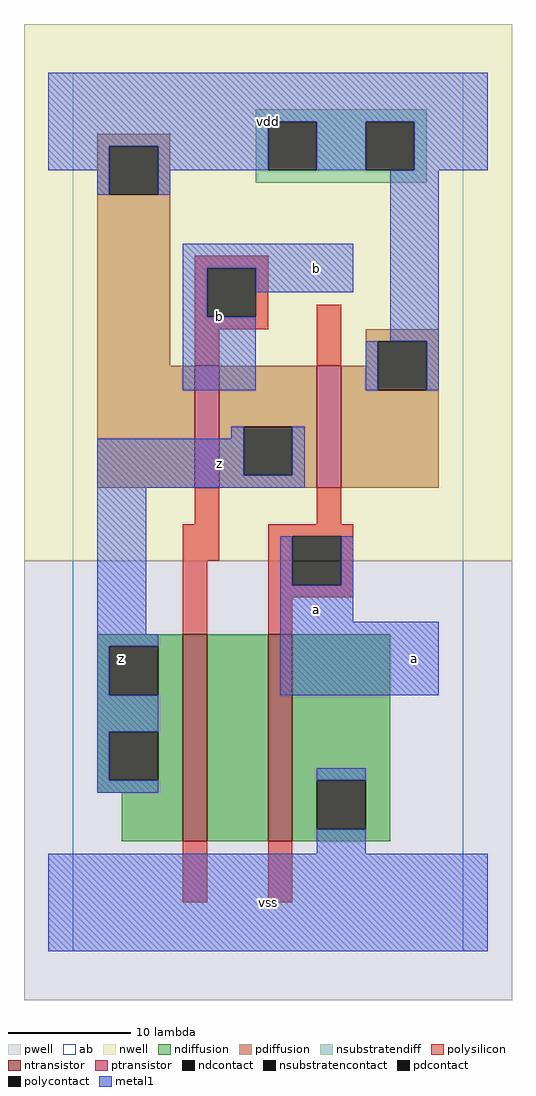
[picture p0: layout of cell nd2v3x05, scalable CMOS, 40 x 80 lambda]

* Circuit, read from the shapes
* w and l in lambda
.subckt nd2v3x05 a b vdd vss z
M1 n1 b z VSUBS nfet w=17 l=2
M2 vss a n1 VSUBS nfet w=17 l=2
M3 z b vdd vdd pfet w=10 l=2
M4 vdd a z vdd pfet w=10 l=2
.ends

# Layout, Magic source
magic
tech scmos
<< ab >>
rect 0 0 32 72
<< pwell >>
rect -4 -4 36 32
<< nwell >>
rect -4 32 36 76
<< polysilicon >>
rect 10 56 16 57
rect 10 52 11 56
rect 15 52 16 56
rect 10 51 16 52
rect 10 48 12 51
rect 20 48 22 53
rect 10 35 12 38
rect 20 35 22 38
rect 9 32 12 35
rect 16 34 23 35
rect 9 26 11 32
rect 16 30 18 34
rect 22 30 23 34
rect 16 29 23 30
rect 16 26 18 29
rect 9 4 11 9
rect 16 4 18 9
<< ndiffusion >>
rect 2 25 9 26
rect 2 21 3 25
rect 7 21 9 25
rect 2 18 9 21
rect 2 14 3 18
rect 7 14 9 18
rect 2 13 9 14
rect 4 9 9 13
rect 11 9 16 26
rect 18 14 26 26
rect 18 10 20 14
rect 24 10 26 14
rect 18 9 26 10
<< pdiffusion >>
rect 2 66 8 67
rect 2 62 3 66
rect 7 62 8 66
rect 2 48 8 62
rect 24 50 30 51
rect 24 48 25 50
rect 2 38 10 48
rect 12 43 20 48
rect 12 39 14 43
rect 18 39 20 43
rect 12 38 20 39
rect 22 46 25 48
rect 29 46 30 50
rect 22 38 30 46
<< metal1 >>
rect -2 68 34 72
rect -2 66 16 68
rect -2 64 3 66
rect 2 62 3 64
rect 7 64 16 66
rect 20 64 24 68
rect 28 64 34 68
rect 7 62 8 64
rect 9 56 23 58
rect 9 52 11 56
rect 15 54 23 56
rect 9 46 15 52
rect 26 50 30 64
rect 24 46 25 50
rect 29 46 30 50
rect 13 42 14 43
rect 2 39 14 42
rect 18 39 19 43
rect 2 38 19 39
rect 2 26 6 38
rect 17 30 18 34
rect 22 30 23 34
rect 17 27 23 30
rect 2 25 7 26
rect 2 21 3 25
rect 17 21 30 27
rect 2 18 7 21
rect 2 14 3 18
rect 2 13 7 14
rect 20 14 24 15
rect 20 8 24 10
rect -2 0 34 8
<< ntransistor >>
rect 9 9 11 26
rect 16 9 18 26
<< ptransistor >>
rect 10 38 12 48
rect 20 38 22 48
<< polycontact >>
rect 11 52 15 56
rect 18 30 22 34
<< ndcontact >>
rect 3 21 7 25
rect 3 14 7 18
rect 20 10 24 14
<< pdcontact >>
rect 3 62 7 66
rect 14 39 18 43
rect 25 46 29 50
<< nsubstratencontact >>
rect 16 64 20 68
rect 24 64 28 68
<< nsubstratendiff >>
rect 15 68 29 69
rect 15 64 16 68
rect 20 64 24 68
rect 28 64 29 68
rect 15 63 29 64
<< labels >>
rlabel ndcontact 4 24 4 24 6 z
rlabel metal1 12 40 12 40 6 z
rlabel metal1 12 52 12 52 6 b
rlabel metal1 16 4 16 4 6 vss
rlabel metal1 20 28 20 28 6 a
rlabel metal1 20 56 20 56 6 b
rlabel metal1 16 68 16 68 6 vdd
rlabel metal1 28 24 28 24 6 a
<< end >>
